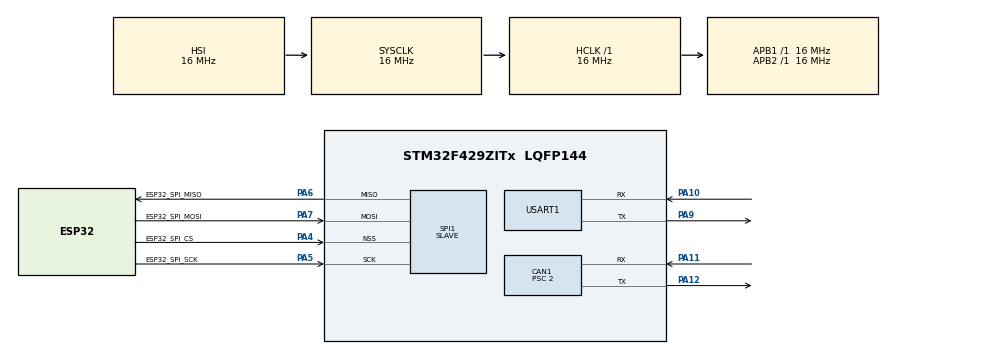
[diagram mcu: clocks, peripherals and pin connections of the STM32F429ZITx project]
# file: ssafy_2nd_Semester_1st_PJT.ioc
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CAN1.BS1=CAN_BS1_11TQ
CAN1.BS2=CAN_BS2_4TQ
CAN1.CalculateBaudRate=500000
CAN1.CalculateTimeBit=2000
CAN1.CalculateTimeQuantum=125.0
CAN1.Prescaler=2
FREERTOS.Queues01=qSpiCtrl,8,SpiControlMessage_t,0,Dynamic,NULL,NULL;qControlCmd,8,uint32_t,0,Dynamic,NULL,NULL;qCanRx,32,CanRawFrame_t,0,Dynamic,NULL,NULL
FREERTOS.Tasks01=defaultTask,24,512,StartDefaultTask,Default,NULL,Dynamic,NULL,NULL;controlTask,40,1024,ControlTask,Default,NULL,Dynamic,NULL,NULL
FREERTOS.configTOTAL_HEAP_SIZE=16384
FREERTOS.configUSE_NEWLIB_REENTRANT=1
Mcu.Family=STM32F4
Mcu.Name=STM32F429ZITx
Mcu.Package=LQFP144
NVIC.CAN1_RX0_IRQn=true\:5\:0\:false\:false\:true\:true\:true\:true\:true
NVIC.CAN1_SCE_IRQn=true\:5\:0\:false\:false\:true\:true\:true\:true\:true
NVIC.CAN1_TX_IRQn=true\:5\:0\:false\:false\:true\:true\:true\:true\:true
NVIC.PriorityGroup=NVIC_PRIORITYGROUP_4
NVIC.SPI1_IRQn=true\:5\:0\:false\:false\:true\:true\:true\:true\:true
NVIC.TIM6_DAC_IRQn=true\:15\:0\:false\:false\:true\:false\:false\:true\:true
NVIC.TimeBase=TIM6_DAC_IRQn
NVIC.TimeBaseIP=TIM6
PA10.Mode=Asynchronous
PA10.Signal=USART1_RX
PA11.Mode=CAN_Activate
PA11.Signal=CAN1_RX
PA12.Mode=CAN_Activate
PA12.Signal=CAN1_TX
PA4.GPIO_Label=ESP32_SPI_CS
PA4.Mode=NSS_Signal_Hard_Input
PA4.Signal=SPI1_NSS
PA5.GPIO_Label=ESP32_SPI_SCK
PA5.Mode=Full_Duplex_Slave
PA5.Signal=SPI1_SCK
PA6.GPIO_Label=ESP32_SPI_MISO
PA6.Mode=Full_Duplex_Slave
PA6.Signal=SPI1_MISO
PA7.GPIO_Label=ESP32_SPI_MOSI
PA7.Mode=Full_Duplex_Slave
PA7.Signal=SPI1_MOSI
PA9.Mode=Asynchronous
PA9.Signal=USART1_TX
ProjectManager.HeapSize=0x200
ProjectManager.StackSize=0x400
ProjectManager.TargetToolchain=STM32CubeIDE
RCC.AHBFreq_Value=16000000
RCC.APB1Freq_Value=16000000
RCC.APB2Freq_Value=16000000
RCC.CortexFreq_Value=16000000
RCC.HSE_VALUE=25000000
RCC.HSI_VALUE=16000000
RCC.LSE_VALUE=32768
RCC.SYSCLKFreq_VALUE=16000000
RCC.VCOOutputFreq_Value=192000000
SPI1.Direction=SPI_DIRECTION_2LINES
SPI1.Mode=SPI_MODE_SLAVE
SPI1.VirtualNSS=VM_NSSHARD
SPI1.VirtualType=VM_SLAVE
USART1.VirtualMode=VM_ASYNC
VP_FREERTOS_VS_CMSIS_V2.Mode=CMSIS_V2
VP_SYS_VS_tim6.Mode=TIM6
board=custom

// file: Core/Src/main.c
/* USER CODE BEGIN Header */
/**
  ******************************************************************************
  * @file           : main.c
  * @brief          : Main program body
  ******************************************************************************
  * @attention
  *
  * Copyright (c) 2026 STMicroelectronics.
  * All rights reserved.
  *
  * This software is licensed under terms that can be found in the LICENSE file
  * in the root directory of this software component.
  * If no LICENSE file comes with this software, it is provided AS-IS.
  *
  ******************************************************************************
  */
/* USER CODE END Header */
#include "main.h"
#include "cmsis_os.h"
#include "can.h"
#include "spi.h"
#include "usart.h"
#include "gpio.h"

/* USER CODE BEGIN PV */
int __io_putchar (int ch)
{
  (void)HAL_UART_Transmit(&huart1, (uint8_t *)&ch, 1, 100);
  return ch;
}
/* USER CODE END PV */

void SystemClock_Config(void);
void MX_FREERTOS_Init(void);

/* USER CODE BEGIN 0 */

/* printf retarget (UART1) */
int _write(int file, char *ptr, int len)
{
  (void)file;
  (void)HAL_UART_Transmit(&huart1, (uint8_t*)ptr, (uint16_t)len, 100);
  return len;
}

/* USER CODE END 0 */

int main(void)
{

  /* MCU Configuration--------------------------------------------------------*/

  /* Reset of all peripherals, Initializes the Flash interface and the Systick. */
  HAL_Init();

  /* Configure the system clock */
  SystemClock_Config();

  /* Initialize all configured peripherals */
  MX_GPIO_Init();
  MX_USART1_UART_Init();
  MX_CAN1_Init();
  MX_SPI1_Init();
  /* USER CODE BEGIN 2 */

  printf("Boot\r\n");

  /* USER CODE END 2 */

  /* Init scheduler */
  osKernelInitialize();  /* Call init function for freertos objects (in freertos.c) */
  MX_FREERTOS_Init();

  /* Start scheduler */
  osKernelStart();

  /* We should never get here as control is now taken by the scheduler */
  /* Infinite loop */
  while (1)
  {

    /* USER CODE BEGIN 3 */
//	if (SensorControl_DHT_TryRead(&humidity, &temperature) == true)
//	{
//	  printf("RX: H=%.1f%% T=%.1fC\r\n", humidity, temperature);
//	}
//	HAL_Delay(1);

  }
  /* USER CODE END 3 */
}

void SystemClock_Config(void)
{
  RCC_OscInitTypeDef RCC_OscInitStruct = {0};
  RCC_ClkInitTypeDef RCC_ClkInitStruct = {0};

  /** Configure the main internal regulator output voltage
  */
  __HAL_RCC_PWR_CLK_ENABLE();
  __HAL_PWR_VOLTAGESCALING_CONFIG(PWR_REGULATOR_VOLTAGE_SCALE3);

  /** Initializes the RCC Oscillators according to the specified parameters
  * in the RCC_OscInitTypeDef structure.
  */
  RCC_OscInitStruct.OscillatorType = RCC_OSCILLATORTYPE_HSI;
  RCC_OscInitStruct.HSIState = RCC_HSI_ON;
  RCC_OscInitStruct.HSICalibrationValue = RCC_HSICALIBRATION_DEFAULT;
  RCC_OscInitStruct.PLL.PLLState = RCC_PLL_NONE;
  if (HAL_RCC_OscConfig(&RCC_OscInitStruct) != HAL_OK)
  {
    Error_Handler();
  }

  /** Initializes the CPU, AHB and APB buses clocks
  */
  RCC_ClkInitStruct.ClockType = RCC_CLOCKTYPE_HCLK|RCC_CLOCKTYPE_SYSCLK
                              |RCC_CLOCKTYPE_PCLK1|RCC_CLOCKTYPE_PCLK2;
  RCC_ClkInitStruct.SYSCLKSource = RCC_SYSCLKSOURCE_HSI;
  RCC_ClkInitStruct.AHBCLKDivider = RCC_SYSCLK_DIV1;
  RCC_ClkInitStruct.APB1CLKDivider = RCC_HCLK_DIV1;
  RCC_ClkInitStruct.APB2CLKDivider = RCC_HCLK_DIV1;

  if (HAL_RCC_ClockConfig(&RCC_ClkInitStruct, FLASH_LATENCY_0) != HAL_OK)
  {
    Error_Handler();
  }
}

void HAL_TIM_PeriodElapsedCallback(TIM_HandleTypeDef *htim)
{
  if (htim->Instance == TIM6) {
    HAL_IncTick();
  }
}

void Error_Handler(void)
{
  __disable_irq();
  while (1)
  {
  }
}

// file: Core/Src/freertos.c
/* USER CODE BEGIN Header */
/**
  ******************************************************************************
  * File Name          : freertos.c
  * Description        : Code for freertos applications
  ******************************************************************************
  * @attention
  *
  * Copyright (c) 2026 STMicroelectronics.
  * All rights reserved.
  *
  * This software is licensed under terms that can be found in the LICENSE file
  * in the root directory of this software component.
  * If no LICENSE file comes with this software, it is provided AS-IS.
  *
  ******************************************************************************
  */
/* USER CODE END Header */

#include "FreeRTOS.h"
#include "task.h"
#include "main.h"
#include "cmsis_os.h"

/* USER CODE BEGIN Includes */
#include "main.h"
#include "can.h"
#include "usart.h"
#include "sensor_control.h"
#include "decision.h"
#include "spi.h"

/* USER CODE END Includes */

/* USER CODE BEGIN PD */
#define EV_CAN_READY      (0x00000001U)

/* ?��?���?? ?�� ?���?? ?��?�� ?�� ?���?? AUTO?��?�� ?��?�� 복�? */
#define SENSOR_STALE_MS   (5000U)
/* USER CODE END PD */

/* USER CODE BEGIN Variables */
osMessageQueueId_t qSpiCtrlHandle;
osMessageQueueId_t qControlCmdHandle;
osMessageQueueId_t qCanRxHandle;

static osMessageQueueId_t g_qCanRx    = NULL;
static osMessageQueueId_t g_qSensor   = NULL;
static osMessageQueueId_t g_qServoCmd = NULL;
static osMessageQueueId_t g_qHighCmd  = NULL;
static osMessageQueueId_t g_qSpiCtrl  = NULL;

static osEventFlagsId_t g_evSys = NULL;
/* USER CODE END Variables */
/* Definitions for defaultTask */
osThreadId_t defaultTaskHandle;
const osThreadAttr_t defaultTask_attributes = {
  .name = "defaultTask",
  .stack_size = 512 * 4,
  .priority = (osPriority_t) osPriorityNormal,
};
/* Definitions for controlTask */
osThreadId_t controlTaskHandle;
const osThreadAttr_t controlTask_attributes = {
  .name = "controlTask",
  .stack_size = 1024 * 4,
  .priority = (osPriority_t) osPriorityHigh,
};
/* Definitions for qSpiCtrl */
osMessageQueueId_t qSpiCtrlHandle;
const osMessageQueueAttr_t qSpiCtrl_attributes = {
  .name = "qSpiCtrl"
};
/* Definitions for qControlCmd */
osMessageQueueId_t qControlCmdHandle;
const osMessageQueueAttr_t qControlCmd_attributes = {
  .name = "qControlCmd"
};
/* Definitions for qCanRx */
osMessageQueueId_t qCanRxHandle;
const osMessageQueueAttr_t qCanRx_attributes = {
  .name = "qCanRx"
};

/* USER CODE BEGIN FunctionPrototypes */
static void CanRxTask(void *argument);
static void CanTxTask(void *argument);

static uint8_t clamp_speed_level(uint8_t level);
static CtrlMode_t sanitize_mode(uint8_t rawMode, CtrlMode_t current);

static HAL_StatusTypeDef can_send_servo_speed(uint8_t speedLevel);
static HAL_StatusTypeDef can_send_high_on(uint8_t on);
/* USER CODE END FunctionPrototypes */

void StartDefaultTask(void *argument);
void ControlTask(void *argument);

void MX_FREERTOS_Init(void); /* (MISRA C 2004 rule 8.1) */

void MX_FREERTOS_Init(void) {

  /* Create the queue(s) */
  /* creation of qSpiCtrl */
  qSpiCtrlHandle = osMessageQueueNew (8, sizeof(SpiControlMessage_t), &qSpiCtrl_attributes);

  /* creation of qControlCmd */
  qControlCmdHandle = osMessageQueueNew (8, sizeof(uint32_t), &qControlCmd_attributes);

  /* creation of qCanRx */
  qCanRxHandle = osMessageQueueNew (32, sizeof(CanRawFrame_t), &qCanRx_attributes);

  /* USER CODE BEGIN RTOS_QUEUES */
  g_qCanRx    = qCanRxHandle;
  g_qSpiCtrl  = qSpiCtrlHandle;

  g_qSensor   = osMessageQueueNew(8, sizeof(SensorSample_t), NULL);
  g_qServoCmd = osMessageQueueNew(8, sizeof(ServoCommand_t), NULL);
  g_qHighCmd  = osMessageQueueNew(8, sizeof(HighCommand_t),  NULL);

  SensorControl_SetRxQueue(g_qCanRx);
  SpiCtrl_SetRxQueue(g_qSpiCtrl);

  g_evSys = osEventFlagsNew(NULL);
  /* USER CODE END RTOS_QUEUES */

  /* Create the thread(s) */
  /* creation of defaultTask */
  defaultTaskHandle = osThreadNew(StartDefaultTask, NULL, &defaultTask_attributes);

  /* creation of controlTask */
  controlTaskHandle = osThreadNew(ControlTask, NULL, &controlTask_attributes);

  /* USER CODE BEGIN RTOS_THREADS */
  /* add threads, ... */
  const osThreadAttr_t canRxAttr = {
      .name = "can_rx",
      .priority = (osPriority_t)osPriorityHigh,
      .stack_size = 1024 * 4
  };

  const osThreadAttr_t canTxAttr = {
      .name = "can_tx",
      .priority = (osPriority_t)osPriorityNormal,
      .stack_size = 1024 * 4
  };

  (void)osThreadNew(CanRxTask, NULL, &canRxAttr);
  (void)osThreadNew(CanTxTask, NULL, &canTxAttr);
  /* USER CODE END RTOS_THREADS */

}

void StartDefaultTask(void *argument)
{
  /* USER CODE BEGIN StartDefaultTask */
  (void)argument;

  printf("Default task start\r\n");

  /* SPI 슬레이브는 “항상 RX IT가 걸려있어야” 마스터 전송을 놓치지 않습니다. */
  if (SpiCtrl_StartRxIT(&hspi1) != HAL_OK) {
    printf("SPI RX start FAIL\r\n");
  } else {
    printf("SPI RX start OK\r\n");
  }

  /* Infinite loop */
  for(;;)
  {
    osDelay(1000);
  }
  /* USER CODE END StartDefaultTask */
}

void ControlTask(void *argument)
{
  /* USER CODE BEGIN ControlTask */
  /* ===== Control Task =====
   * - WIPER/HIGH 각각 AUTO/ON/OFF 모드
   * - AUTO면 humidity threshold 기반으로 기존 알고리즘 유지
   * - ON/OFF면 강제 override
   */
  (void)argument;

  printf("Control task start\r\n");

  /* ===== AUTO threshold (정환님 요구에 맞춰 여기에서만 조정) ===== */
  const float hum_on_30 = 30.0f;
  const float hum_on_35 = 35.0f;
  const float hum_on_40 = 40.0f;
  const float hysteresis = 0.5f;

  /* HIGH AUTO 기준(임시): 습도 35 이상이면 ON */
  const float high_on = 35.0f;
  const float high_hys = 0.5f;

  CtrlMode_t wiperMode = CTRL_MODE_AUTO;
  CtrlMode_t highMode  = CTRL_MODE_AUTO;

  uint32_t lastSensorTick = 0U;
  float lastHumidity = 0.0f;

  /* AUTO 계산 결과 */
  uint8_t autoSpeedLevel = SERVO_SPEED_STOP;
  uint8_t autoHighOn = 0U;
  bool autoSpeedValid = false;
  bool autoHighValid = false;

  /* 최종 송신값(중복 송신 방지) */
  uint8_t lastSentSpeedLevel = 0xFFU;
  uint8_t lastSentHighOn = 0xFFU;

  /* Infinite loop */
  for(;;)
  {
	/* 1) SPI에서 온 override 명령 처리 */
	SpiControlMessage_t spiMsg;
	while (osMessageQueueGet(g_qSpiCtrl, &spiMsg, NULL, 0U) == osOK)
	{
	  CtrlMode_t newWiper = sanitize_mode(spiMsg.wiper_mode, wiperMode);
	  CtrlMode_t newHigh  = sanitize_mode(spiMsg.high_mode,  highMode);

	  if (newWiper != wiperMode) {
		wiperMode = newWiper;
		autoSpeedValid = false;
		printf("SPI: WIPER mode=%u\r\n", (unsigned)wiperMode);
	  }

	  if (newHigh != highMode) {
		highMode = newHigh;
		autoHighValid = false;
		printf("SPI: HIGH  mode=%u\r\n", (unsigned)highMode);
	  }
	}

	/* 2) 센서 샘플 갱신(없으면 100ms 동안 대기) */
	SensorSample_t sample;
	if (osMessageQueueGet(g_qSensor, &sample, NULL, 100U) == osOK)
	{
	  lastSensorTick = sample.tick_ms;
	  lastHumidity = sample.humidity;

	  /* WIPER AUTO 결정 */
	  if (wiperMode == CTRL_MODE_AUTO)
	  {
		if (!autoSpeedValid)
		{
		  if (lastHumidity >= hum_on_40) {
			autoSpeedLevel = SERVO_SPEED_FAST;
		  } else if (lastHumidity >= hum_on_35) {
			autoSpeedLevel = SERVO_SPEED_NORMAL;
		  } else if (lastHumidity >= hum_on_30) {
			autoSpeedLevel = SERVO_SPEED_SLOW;
		  } else {
			autoSpeedLevel = SERVO_SPEED_STOP;
		  }
		  autoSpeedValid = true;
		}
		else
		{
		  if (lastHumidity >= hum_on_40) {
			autoSpeedLevel = SERVO_SPEED_FAST;
		  } else if (lastHumidity >= hum_on_35) {
			if (autoSpeedLevel < SERVO_SPEED_NORMAL) {
			  autoSpeedLevel = SERVO_SPEED_NORMAL;
			}
		  } else if (lastHumidity >= hum_on_30) {
			if (autoSpeedLevel < SERVO_SPEED_SLOW) {
			  autoSpeedLevel = SERVO_SPEED_SLOW;
			}
		  }

		  if (autoSpeedLevel == SERVO_SPEED_FAST && lastHumidity < (hum_on_40 - hysteresis)) {
			autoSpeedLevel = SERVO_SPEED_NORMAL;
		  }
		  if (autoSpeedLevel == SERVO_SPEED_NORMAL && lastHumidity < (hum_on_35 - hysteresis)) {
			autoSpeedLevel = SERVO_SPEED_SLOW;
		  }
		  if (autoSpeedLevel == SERVO_SPEED_SLOW && lastHumidity < (hum_on_30 - hysteresis)) {
			autoSpeedLevel = SERVO_SPEED_STOP;
		  }
		}
	  }

	  /* HIGH AUTO 결정 */
	  if (highMode == CTRL_MODE_AUTO)
	  {
		if (!autoHighValid)
		{
		  autoHighOn = (lastHumidity >= high_on) ? 1U : 0U;
		  autoHighValid = true;
		}
		else
		{
		  if (autoHighOn == 0U) {
			if (lastHumidity >= high_on) {
			  autoHighOn = 1U;
			}
		  } else {
			if (lastHumidity < (high_on - high_hys)) {
			  autoHighOn = 0U;
			}
		  }
		}
	  }
	}

	/* 3) 센서 stale 판단(AUTO에서 안전복귀) */
	uint32_t now = (uint32_t)osKernelGetTickCount();
	bool sensorStale = true;

	if (lastSensorTick != 0U) {
	  uint32_t age = now - lastSensorTick;
	  if (age <= SENSOR_STALE_MS) {
		sensorStale = false;
	  }
	}

	/* 4) 최종 목표값 산출(override 우선) */
	uint8_t targetSpeedLevel = lastSentSpeedLevel;
	uint8_t targetHighOn = lastSentHighOn;

	if (wiperMode == CTRL_MODE_OFF) {
	  targetSpeedLevel = SERVO_SPEED_STOP;
	} else if (wiperMode == CTRL_MODE_ON) {
	  targetSpeedLevel = SERVO_SPEED_NORMAL;
	} else {
	  if (sensorStale) {
		targetSpeedLevel = SERVO_SPEED_STOP;
	  } else {
		targetSpeedLevel = clamp_speed_level(autoSpeedLevel);
	  }
	}

	if (highMode == CTRL_MODE_OFF) {
	  targetHighOn = 0U;
	} else if (highMode == CTRL_MODE_ON) {
	  targetHighOn = 1U;
	} else {
	  if (sensorStale) {
		targetHighOn = 0U;
	  } else {
		targetHighOn = autoHighValid ? autoHighOn : 0U;
	  }
	}

	/* 5) 변경이 있을 때만 큐로 전달 */
	if (targetSpeedLevel != lastSentSpeedLevel)
	{
	  lastSentSpeedLevel = targetSpeedLevel;

	  ServoCommand_t cmd;
	  cmd.speed_level = targetSpeedLevel;
	  cmd.tick_ms = now;

	  (void)osMessageQueuePut(g_qServoCmd, &cmd, 0U, 0U);
	  printf("WIPER: H=%.1f mode=%u -> speed=%u\r\n",
			 (double)lastHumidity,
			 (unsigned)wiperMode,
			 (unsigned)targetSpeedLevel);
	}

	if (targetHighOn != lastSentHighOn)
	{
	  lastSentHighOn = targetHighOn;

	  HighCommand_t cmd;
	  cmd.on = targetHighOn;
	  cmd.tick_ms = now;

	  (void)osMessageQueuePut(g_qHighCmd, &cmd, 0U, 0U);
	  printf("HIGH : H=%.1f mode=%u -> on=%u\r\n",
			 (double)lastHumidity,
			 (unsigned)highMode,
			 (unsigned)targetHighOn);
	}
  }
  /* USER CODE END ControlTask */
}

/* USER CODE BEGIN Application */
static uint8_t clamp_speed_level(uint8_t level)
{
  if (level > SERVO_SPEED_FAST) {
    return SERVO_SPEED_FAST;
  }
  return level;
}

static CtrlMode_t sanitize_mode(uint8_t rawMode, CtrlMode_t current)
{
  if (rawMode == SPI_MODE_NOCHANGE) {
    return current;
  }

  if (rawMode == (uint8_t)CTRL_MODE_AUTO) {
    return CTRL_MODE_AUTO;
  }

  if (rawMode == (uint8_t)CTRL_MODE_ON) {
    return CTRL_MODE_ON;
  }

  if (rawMode == (uint8_t)CTRL_MODE_OFF) {
    return CTRL_MODE_OFF;
  }

  return current;
}

/* ===== CAN RX Task ===== */
static void CanRxTask(void *argument)
{
  (void)argument;

  printf("CAN RX task start\r\n");

  if (SensorControl_CAN_Start(&hcan1) != HAL_OK) {
    printf("CAN start failed\r\n");
    for (;;) {
      osDelay(1000);
    }
  }

  (void)osEventFlagsSet(g_evSys, EV_CAN_READY);

  for (;;)
  {
    CanRawFrame_t frame;
    osStatus_t st = osMessageQueueGet(g_qCanRx, &frame, NULL, osWaitForever);
    if (st != osOK) {
      continue;
    }

    if (frame.std_id != CAN_ID_SENSOR_DHT) {
      continue;
    }

    float humidity = 0.0f;
    float temperature = 0.0f;

    int ok = protocol_parse_dht_x10(frame.data, frame.dlc, &humidity, &temperature);
    if (ok == 0) {
      continue;
    }

    SensorSample_t sample;
    sample.humidity = humidity;
    sample.temperature = temperature;
    sample.tick_ms = (uint32_t)osKernelGetTickCount();

    (void)osMessageQueuePut(g_qSensor, &sample, 0U, 0U);
  }
}

/* ===== CAN TX helpers ===== */
static HAL_StatusTypeDef can_send_servo_speed(uint8_t speedLevel)
{
  CAN_TxHeaderTypeDef txHeader;
  uint8_t txData[8];
  uint32_t mailbox = 0U;

  memset(&txHeader, 0, sizeof(txHeader));
  memset(txData, 0, sizeof(txData));

  txHeader.StdId = CAN_ID_CMD_SERVO;
  txHeader.IDE = CAN_ID_STD;
  txHeader.RTR = CAN_RTR_DATA;
  txHeader.DLC = 2;

  txData[0] = SERVO_CMD_SET_ANGLE;
  txData[1] = clamp_speed_level(speedLevel);

  return HAL_CAN_AddTxMessage(&hcan1, &txHeader, txData, &mailbox);
}

static HAL_StatusTypeDef can_send_high_on(uint8_t on)
{
  CAN_TxHeaderTypeDef txHeader;
  uint8_t txData[8];
  uint32_t mailbox = 0U;

  memset(&txHeader, 0, sizeof(txHeader));
  memset(txData, 0, sizeof(txData));

  txHeader.StdId = CAN_ID_CMD_HIGH;
  txHeader.IDE = CAN_ID_STD;
  txHeader.RTR = CAN_RTR_DATA;
  txHeader.DLC = 2;

  txData[0] = HIGH_CMD_SET_STATE;
  txData[1] = (on != 0U) ? 1U : 0U;

  return HAL_CAN_AddTxMessage(&hcan1, &txHeader, txData, &mailbox);
}

/* ===== CAN TX Task ===== */
static void CanTxTask(void *argument)
{
  (void)argument;

  printf("CAN TX task start\r\n");
  (void)osEventFlagsWait(g_evSys, EV_CAN_READY, osFlagsWaitAny, osWaitForever);

  for (;;)
  {
    ServoCommand_t servoCmd;
    if (osMessageQueueGet(g_qServoCmd, &servoCmd, NULL, 20U) == osOK)
    {
      if (can_send_servo_speed(servoCmd.speed_level) != HAL_OK) {
        printf("CAN TX servo FAIL\r\n");
      }
    }

    HighCommand_t highCmd;
    while (osMessageQueueGet(g_qHighCmd, &highCmd, NULL, 0U) == osOK)
    {
      if (can_send_high_on(highCmd.on) != HAL_OK) {
        printf("CAN TX high FAIL\r\n");
      }
    }
  }
}

/* USER CODE END Application */
